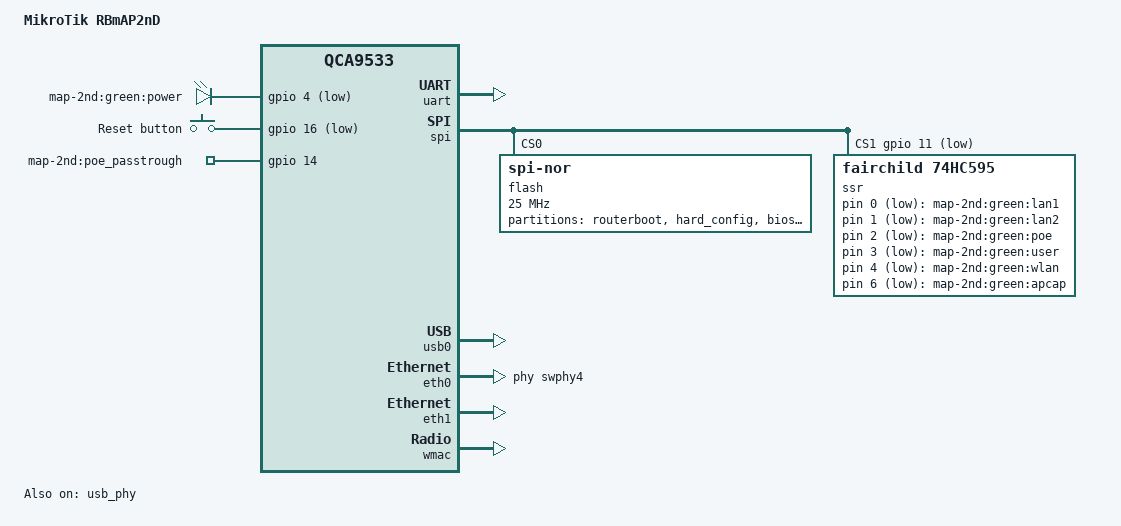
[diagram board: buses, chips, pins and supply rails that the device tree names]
// SPDX-License-Identifier: GPL-2.0-or-later OR MIT
/dts-v1/;

#include <dt-bindings/gpio/gpio.h>
#include <dt-bindings/input/input.h>

#include "qca953x.dtsi"

/ {
	compatible = "mikrotik,map-2nd", "qca,qca9533";
	model = "MikroTik RBmAP2nD";

	chosen {
		bootargs = "console=ttyS0,115200n8";
	};

	aliases {
		led-boot = &user;
		led-failsafe = &user;
		led-running = &user;
		led-upgrade = &user;
		label-mac-device = &eth0;
	};

	leds {
		compatible = "gpio-leds";

		power {
			label = "map-2nd:green:power";
			gpios = <&gpio 4 GPIO_ACTIVE_LOW>;
			default-state = "on";
			panic-indicator;
		};

		lan1 {
			label = "map-2nd:green:lan1";
			gpios = <&ssr 0 GPIO_ACTIVE_LOW>;
		};

		lan2 {
			label = "map-2nd:green:lan2";
			gpios = <&ssr 1 GPIO_ACTIVE_LOW>;
		};

		poe {
			label = "map-2nd:green:poe";
			gpios = <&ssr 2 GPIO_ACTIVE_LOW>;
		};

		user: user {
			label = "map-2nd:green:user";
			gpios = <&ssr 3 GPIO_ACTIVE_LOW>;
		};

		wlan {
			label = "map-2nd:green:wlan";
			gpios = <&ssr 4 GPIO_ACTIVE_LOW>;
			linux,default-trigger = "phy0tpt";
		};

		apcap {
			label = "map-2nd:green:apcap";
			gpios = <&ssr 6 GPIO_ACTIVE_LOW>;
		};
	};

	keys {
		compatible = "gpio-keys";

		reset_button {
			label = "Reset button";
			linux,code = <KEY_RESTART>;
			gpios = <&gpio 16 GPIO_ACTIVE_LOW>;
		};
	};

	gpio-export {
		compatible = "gpio-export";

		poe_passtrough {
			gpio-export,name = "map-2nd:poe_passtrough";
			gpio-export,output = <0>;
			gpios = <&gpio 14 GPIO_ACTIVE_HIGH>;
		};
	};
};

&uart {
	status = "okay";
};

&spi {
	status = "okay";
	num-cs = <2>;
	cs-gpios = <0>, <&gpio 11 GPIO_ACTIVE_LOW>;

	flash@0 {
		#address-cells = <1>;
		#size-cells = <1>;
		compatible = "jedec,spi-nor";
		reg = <0>;
		spi-max-frequency = <25000000>;

		partitions {
			compatible = "fixed-partitions";
			#address-cells = <1>;
			#size-cells = <1>;

			partition@0 {
				label = "routerboot";
				reg = <0x000000 0xe000>;
				read-only;
			};

			hard_config: partition@e000 {
				label = "hard_config";
				reg = <0xe000 0x1000>;
				read-only;
			};

			partition@f000 {
				label = "bios";
				reg = <0xf000 0x1000>;
				read-only;
			};

			partition@10000 {
				label = "routerboot2";
				reg = <0x10000 0xf000>;
				read-only;
			};

			partition@1f000 {
				label = "soft_config";
				reg = <0x1f000 0x1000>;
			};

			partition@20000 {
				label = "firmware";
				reg = <0x20000 0xfe0000>;
				compatible = "mikrotik,minor";
			};
		};
	};

	ssr: ssr@1 {
		compatible = "fairchild,74hc595";
		reg = <1>;
		gpio-controller;
		#gpio-cells = <2>;
		registers-number = <1>;

		usb_power {
				gpio-hog;
				gpios = <5 GPIO_ACTIVE_LOW>;
				output-high;
				line-name = "usb_power";
		};
	};
};

&usb0 {
	status = "okay";
};

&usb_phy {
	status = "okay";
};

&eth0 {
	status = "okay";
	phy-handle = <&swphy4>;
	mtd-mac-address = <&hard_config 0x10>;
};

&eth1 {
	status = "okay";
};

&wmac {
	status = "okay";
	mtd-mac-address = <&hard_config 0x10>;
	mtd-mac-address-increment = <2>;
	qca,no-eeprom;
};
